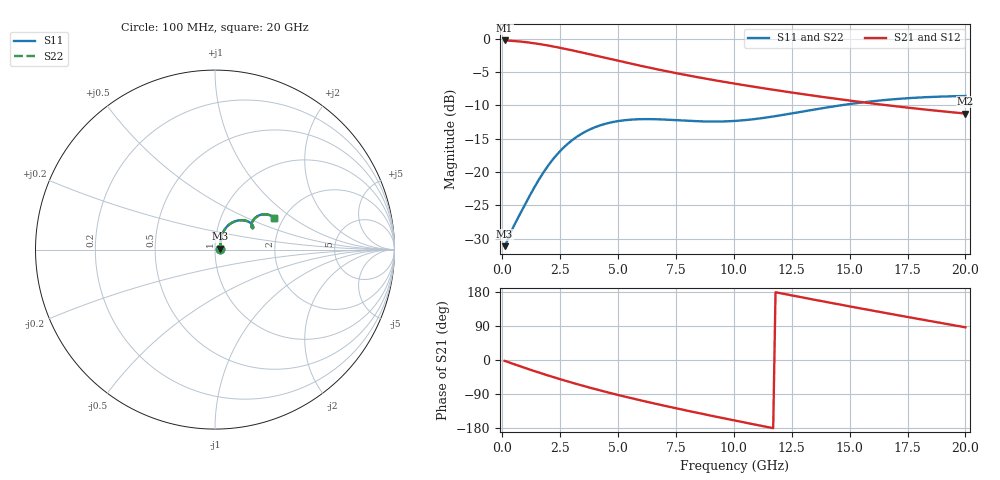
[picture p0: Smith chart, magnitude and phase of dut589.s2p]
! Touchstone file exported from HFSS 2024.1.0
!  File:  C:/UserFiles/LocalFiles/RDL_TSV_Batchsim/temp_RDL_TSV_589_1779758951.aedt
!  Generated:  09:46:32 AM May 26, 2026
!  Design:  RDL_TSV
!  Project:  temp_RDL_TSV_589_1779758951
!  Setup:  Setup1
!  Solution:  Sweep
! Variables:
!  dtsv = 9.62um
!  hbump = 3um
!  htsv = 70.32um
!  ldown = 568.96um
!  lrdl = 618.99um
!  p = 40
!  p1 = 42.17um
!  rhole = 10um
!  subl = 4182.84um
!  t = 450um
!  tdown = 4.18um
!  trdl = 2.64um
!  viad = 10um
!  wdown = 22.09um
!  wrdl = 16.27um
!  xbump = 18um
# GHz S MA R 50.000000
! Terminal data exported
! Port[1] = TM1_1_T1
! Port[2] = TM1_4_T1
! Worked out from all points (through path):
!   200 points, 100 MHz to 20 GHz, reference 50 ohm
!   highest |S21| = -0.24 dB at 100 MHz (marker M1); lowest = -11.2 dB at 20 GHz (marker M2)
!   group delay of S21, straight-line fit = 36.4 ps
!   lowest |S11| = -31.1 dB at 100 MHz (marker M3), VSWR 1.06, Z = 52.8 + j0.606 ohm
!   |S11| at or under -10 dB: start of sweep to 14.59 GHz
!   |S22| runs from -31.1 to -8.6 dB; largest |S21 - S12| = 7.7e-15
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0.1  0.02773 11.9  0.9726 -2.2  0.9726 -2.2  0.02773 11.9
! Gamma 0 0 0 0
! Port Impedance 50 0 50 0
0.5  0.03936 39.1  0.9637 -10.9  0.9637 -10.9  0.03936 39.1
0.9  0.05359 53.1  0.9497 -19.3  0.9497 -19.3  0.05359 53.1
1.4  0.07749 62.6  0.9257 -29.5  0.9257 -29.5  0.07746 62.5
1.8  0.1007 64.9  0.9024 -37.4  0.9024 -37.4  0.1006 64.8
2.2  0.1254 64.3  0.8767 -45.1  0.8767 -45.1  0.1253 64.2
2.6  0.1498 61.9  0.8493 -52.5  0.8493 -52.5  0.1497 61.8
3  0.1725 58.6  0.8211 -59.7  0.8211 -59.7  0.1723 58.5
3.5  0.1971 53.9  0.7856 -68.3  0.7856 -68.3  0.1969 53.9
4.2  0.2232 47.3  0.7369 -79.8  0.7369 -79.8  0.2229 47.3
5.1  0.2426 39.9  0.6785 -93.8  0.6785 -93.8  0.2423 39.8
5.9  0.2491 34.8  0.6318 -105.4  0.6318 -105.4  0.2488 34.8
6.8  0.2485 31.1  0.5852 -118.0  0.5852 -118.0  0.2482 31.1
7.6  0.2446 29.6  0.5489 -128.7  0.5489 -128.7  0.2443 29.5
8.4  0.2407 29.7  0.5166 -139.1  0.5166 -139.1  0.2404 29.6
10.1  0.2423 33.2  0.4589 -160.5  0.4589 -160.5  0.242 33.1
11.6  0.2596 36.8  0.4172 -178.8  0.4172 -178.8  0.2592 36.7
13.4  0.293 38.3  0.3753 159.9  0.3753 159.9  0.2924 38.2
15  0.3237 37.1  0.344 141.5  0.344 141.5  0.3229 36.9
16.7  0.3495 34.2  0.3159 122.4  0.3159 122.4  0.3485 34.1
18.3  0.3648 31.3  0.294 104.8  0.294 104.8  0.3636 31.1
20  0.3721 28.5  0.2749 86.3  0.2749 86.3  0.3707 28.4
